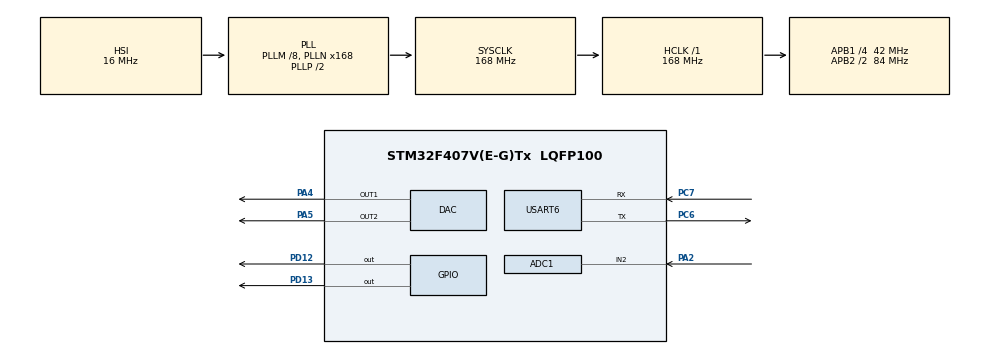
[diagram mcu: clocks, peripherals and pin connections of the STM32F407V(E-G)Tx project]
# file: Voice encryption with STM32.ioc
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ADC1.Channel-0\#ChannelRegularConversion=ADC_CHANNEL_2
ADC1.NbrOfConversion=1
ADC1.NbrOfConversionFlag=1
ADC1.Rank-0\#ChannelRegularConversion=1
ADC1.SamplingTime-0\#ChannelRegularConversion=ADC_SAMPLETIME_3CYCLES
ADC1.master=1
Mcu.Family=STM32F4
Mcu.Name=STM32F407V(E-G)Tx
Mcu.Package=LQFP100
NVIC.PriorityGroup=NVIC_PRIORITYGROUP_4
NVIC.TIM1_BRK_TIM9_IRQn=true\:0\:0\:false\:false\:true\:true\:true\:true
NVIC.TIM1_CC_IRQn=true\:0\:0\:false\:false\:true\:true\:true\:true
NVIC.TIM1_TRG_COM_TIM11_IRQn=true\:0\:0\:false\:false\:true\:true\:true\:true
NVIC.TIM1_UP_TIM10_IRQn=true\:0\:0\:false\:false\:true\:true\:true\:true
NVIC.TIM2_IRQn=true\:0\:0\:false\:false\:true\:true\:true\:true
NVIC.USART6_IRQn=true\:0\:0\:false\:false\:true\:true\:true\:true
PA13.Mode=Serial_Wire
PA13.Signal=SYS_JTMS-SWDIO
PA14.Mode=Serial_Wire
PA14.Signal=SYS_JTCK-SWCLK
PA2.Signal=ADCx_IN2
PA4.Signal=COMP_DAC1_group
PA5.Signal=COMP_DAC2_group
PC6.Mode=Asynchronous
PC6.Signal=USART6_TX
PC7.Mode=Asynchronous
PC7.Signal=USART6_RX
PD12.Signal=GPIO_Output
PD13.Signal=GPIO_Output
PH0-OSC_IN.Mode=HSE-External-Oscillator
PH0-OSC_IN.Signal=RCC_OSC_IN
PH1-OSC_OUT.Mode=HSE-External-Oscillator
PH1-OSC_OUT.Signal=RCC_OSC_OUT
ProjectManager.HeapSize=0x200
ProjectManager.StackSize=0x400
ProjectManager.TargetToolchain=STM32CubeIDE
RCC.48MHZClocksFreq_Value=84000000
RCC.AHBFreq_Value=168000000
RCC.APB1CLKDivider=RCC_HCLK_DIV4
RCC.APB1Freq_Value=42000000
RCC.APB1TimFreq_Value=84000000
RCC.APB2CLKDivider=RCC_HCLK_DIV2
RCC.APB2Freq_Value=84000000
RCC.APB2TimFreq_Value=168000000
RCC.CortexFreq_Value=168000000
RCC.HCLKFreq_Value=168000000
RCC.HSE_VALUE=8000000
RCC.HSI_VALUE=16000000
RCC.LSE_VALUE=32768
RCC.PLLM=8
RCC.PLLN=168
RCC.SYSCLKFreq_VALUE=168000000
RCC.SYSCLKSource=RCC_SYSCLKSOURCE_PLLCLK
RCC.VCOOutputFreq_Value=336000000
SH.ADCx_IN2.0=ADC1_IN2,IN2
SH.COMP_DAC1_group.0=DAC_OUT1,DAC_OUT1
SH.COMP_DAC2_group.0=DAC_OUT2,DAC_OUT2
TIM1.Period=1000
TIM1.Prescaler=48000
TIM2.Period=10
TIM2.Prescaler=100
USART6.VirtualMode=VM_ASYNC
VP_TIM1_VS_ClockSourceINT.Mode=Internal
VP_TIM2_VS_ClockSourceINT.Mode=Internal
board=custom

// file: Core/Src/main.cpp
/* USER CODE BEGIN Header */
/**
  ******************************************************************************
  * @file           : main.c
  * @brief          : Main program body
  ******************************************************************************
  * @attention
  *
  * Copyright (c) 2022 STMicroelectronics.
  * All rights reserved.
  *
  * This software is licensed under terms that can be found in the LICENSE file
  * in the root directory of this software component.
  * If no LICENSE file comes with this software, it is provided AS-IS.
  *
  ******************************************************************************
  */
/* USER CODE END Header */
#include "main.h"

/* USER CODE BEGIN Includes */
#include "string.h"
#include<stdio.h>
#include<stdlib.h>
/* USER CODE END Includes */

/* USER CODE BEGIN PD */
#define d9on HAL_GPIO_WritePin(GPIOD, GPIO_PIN_12, 1);  ;
#define d10on HAL_GPIO_WritePin(GPIOD, GPIO_PIN_13, 1);  ;
#define d9off HAL_GPIO_WritePin(GPIOD, GPIO_PIN_12, 0);  ;
#define d10off HAL_GPIO_WritePin(GPIOD, GPIO_PIN_13, 0);  ;
uint8_t buff1[2],x=0,dataRaedy=0,bufferReady=0,bufferCount=0 ;
char buffer[100],text[100];
uint16_t adcVal1[1024],datacodec[128],datacodec2[128];
/* USER CODE END PD */

ADC_HandleTypeDef hadc1;

DAC_HandleTypeDef hdac;

TIM_HandleTypeDef htim1;
TIM_HandleTypeDef htim2;

UART_HandleTypeDef huart6;

void SystemClock_Config(void);
static void MX_GPIO_Init(void);
static void MX_USART6_UART_Init(void);
static void MX_ADC1_Init(void);
static void MX_DAC_Init(void);
static void MX_TIM1_Init(void);
static void MX_TIM2_Init(void);

/* USER CODE BEGIN 0 */

void HAL_TIM_PWM_PulseFinishedCallback(TIM_HandleTypeDef *htim)
{
	if(htim==&htim1){

		HAL_GPIO_TogglePin(GPIOD, GPIO_PIN_13);

	}
	if(htim==&htim2){

		HAL_ADC_Start(&hadc1);
		HAL_ADC_PollForConversion(&hadc1, 5);
		adcVal1[0]=0xfff-HAL_ADC_GetValue(&hadc1);
		HAL_DAC_SetValue(&hdac, DAC_CHANNEL_1, DAC_ALIGN_12B_R, adcVal1[0]);

//		if(x<128){
//
//		  scanADC();
//
//		}
//
//		  if(bufferReady){
//			  if(bufferCount<128){
//
//				  	  	  	HAL_DAC_SetValue(&hdac, DAC_CHANNEL_1, DAC_ALIGN_12B_R, datacodec2[bufferCount]);
//				  	  	  	bufferCount++;
////				  			sprintf(text, "a= %d\r\n", datacodec2[bufferCount]);
////				  			HAL_UART_Transmit(&huart6,text,strlen(text),2000);
//
//			  }else{
//				  bufferReady=0;
//			  }
//
//		  }

	}

}
void runCodec(uint16_t adcVal[128]){
	if(dataRaedy==0){
		x=0;
	for(uint8_t i;i<128;i++){

		datacodec[i]=adcVal[i];

	}
	dataRaedy=1;
	}

}
void scanADC(){

	  HAL_ADC_Start(&hadc1);
	  HAL_ADC_PollForConversion(&hadc1, 5);
	  adcVal1[x]=0xfff-HAL_ADC_GetValue(&hadc1);
	  x++;

}
void feelBuffer(){
	if(bufferReady==0){
	for(uint8_t i;i<128;i++){

		datacodec2[i]=datacodec[i];

	}
	bufferReady=1;
	bufferCount=0;
	dataRaedy=0;
	}

}

/* USER CODE END 0 */

int main(void)
{

  /* MCU Configuration--------------------------------------------------------*/

  /* Reset of all peripherals, Initializes the Flash interface and the Systick. */
  HAL_Init();

  /* Configure the system clock */
  SystemClock_Config();

  /* Initialize all configured peripherals */
  MX_GPIO_Init();
  MX_USART6_UART_Init();
  MX_ADC1_Init();
  MX_DAC_Init();
  MX_TIM1_Init();
  MX_TIM2_Init();
  /* USER CODE BEGIN 2 */
  HAL_UART_Receive_IT(&huart6,buff1,1);
  HAL_DAC_Start(&hdac, DAC_CHANNEL_1);
//  HAL_DAC_Start(&hdac, DAC_CHANNEL_2);
  strcpy(buffer, "\r\nhttps://maps.google.com/?q=");
  HAL_TIM_PWM_Start_IT(&htim1,TIM_CHANNEL_1);		//start timer 1
  HAL_TIM_PWM_Start_IT(&htim2,TIM_CHANNEL_2);
  /* USER CODE END 2 */

  /* Infinite loop */
  /* USER CODE BEGIN WHILE */
  while (1)
  {

		  if(x>126)runCodec(adcVal1);
		  if(dataRaedy)feelBuffer();
//		  if(adcVal0<170)adcVal0=0;

//		  adcVal0=adcVal0^0x501;
//		  adcVal0=adcVal0^0x55a;

//		  adcVal0=adcVal0^0x55a;
//		  adcVal0=adcVal0^0x501;

//		  itoa(adcVal0, text, 16);
//		  HAL_UART_Transmit(&huart6,text,strlen(text),2000);
//		  HAL_UART_Transmit(&huart6,"\r\n",2,2000);
//		  HAL_Delay(50);
//		  HAL_DAC_SetValue(&hdac, DAC_CHANNEL_1, DAC_ALIGN_12B_R, adcVal0);
//		  HAL_DAC_SetValue(&hdac, DAC_CHANNEL_2, DAC_ALIGN_12B_R, adcVal0);

//	  d9on
//	  d10on
//	  HAL_Delay(500);
//	  HAL_UART_Transmit(&huart6,buffer,strlen(buffer),2000);
//	  HAL_UART_Transmit(&huart6,text,strlen(text),2000);
//	  d9off
//	  d10off
//	  HAL_Delay(500);
    /* USER CODE END WHILE */

  }
}

void SystemClock_Config(void)
{
  RCC_OscInitTypeDef RCC_OscInitStruct = {0};
  RCC_ClkInitTypeDef RCC_ClkInitStruct = {0};

  /** Configure the main internal regulator output voltage
  */
  __HAL_RCC_PWR_CLK_ENABLE();
  __HAL_PWR_VOLTAGESCALING_CONFIG(PWR_REGULATOR_VOLTAGE_SCALE1);

  /** Initializes the RCC Oscillators according to the specified parameters
  * in the RCC_OscInitTypeDef structure.
  */
  RCC_OscInitStruct.OscillatorType = RCC_OSCILLATORTYPE_HSI;
  RCC_OscInitStruct.HSIState = RCC_HSI_ON;
  RCC_OscInitStruct.HSICalibrationValue = RCC_HSICALIBRATION_DEFAULT;
  RCC_OscInitStruct.PLL.PLLState = RCC_PLL_ON;
  RCC_OscInitStruct.PLL.PLLSource = RCC_PLLSOURCE_HSI;
  RCC_OscInitStruct.PLL.PLLM = 8;
  RCC_OscInitStruct.PLL.PLLN = 168;
  RCC_OscInitStruct.PLL.PLLP = RCC_PLLP_DIV2;
  RCC_OscInitStruct.PLL.PLLQ = 4;
  if (HAL_RCC_OscConfig(&RCC_OscInitStruct) != HAL_OK)
  {
    Error_Handler();
  }

  /** Initializes the CPU, AHB and APB buses clocks
  */
  RCC_ClkInitStruct.ClockType = RCC_CLOCKTYPE_HCLK|RCC_CLOCKTYPE_SYSCLK
                              |RCC_CLOCKTYPE_PCLK1|RCC_CLOCKTYPE_PCLK2;
  RCC_ClkInitStruct.SYSCLKSource = RCC_SYSCLKSOURCE_PLLCLK;
  RCC_ClkInitStruct.AHBCLKDivider = RCC_SYSCLK_DIV1;
  RCC_ClkInitStruct.APB1CLKDivider = RCC_HCLK_DIV4;
  RCC_ClkInitStruct.APB2CLKDivider = RCC_HCLK_DIV2;

  if (HAL_RCC_ClockConfig(&RCC_ClkInitStruct, FLASH_LATENCY_5) != HAL_OK)
  {
    Error_Handler();
  }
}

static void MX_ADC1_Init(void)
{

  ADC_ChannelConfTypeDef sConfig = {0};

  /** Configure the global features of the ADC (Clock, Resolution, Data Alignment and number of conversion)
  */
  hadc1.Instance = ADC1;
  hadc1.Init.ClockPrescaler = ADC_CLOCK_SYNC_PCLK_DIV4;
  hadc1.Init.Resolution = ADC_RESOLUTION_12B;
  hadc1.Init.ScanConvMode = DISABLE;
  hadc1.Init.ContinuousConvMode = DISABLE;
  hadc1.Init.DiscontinuousConvMode = DISABLE;
  hadc1.Init.ExternalTrigConvEdge = ADC_EXTERNALTRIGCONVEDGE_NONE;
  hadc1.Init.ExternalTrigConv = ADC_SOFTWARE_START;
  hadc1.Init.DataAlign = ADC_DATAALIGN_RIGHT;
  hadc1.Init.NbrOfConversion = 1;
  hadc1.Init.DMAContinuousRequests = DISABLE;
  hadc1.Init.EOCSelection = ADC_EOC_SINGLE_CONV;
  if (HAL_ADC_Init(&hadc1) != HAL_OK)
  {
    Error_Handler();
  }

  /** Configure for the selected ADC regular channel its corresponding rank in the sequencer and its sample time.
  */
  sConfig.Channel = ADC_CHANNEL_2;
  sConfig.Rank = 1;
  sConfig.SamplingTime = ADC_SAMPLETIME_3CYCLES;
  if (HAL_ADC_ConfigChannel(&hadc1, &sConfig) != HAL_OK)
  {
    Error_Handler();
  }

}

static void MX_DAC_Init(void)
{

  DAC_ChannelConfTypeDef sConfig = {0};

  /** DAC Initialization
  */
  hdac.Instance = DAC;
  if (HAL_DAC_Init(&hdac) != HAL_OK)
  {
    Error_Handler();
  }

  /** DAC channel OUT1 config
  */
  sConfig.DAC_Trigger = DAC_TRIGGER_NONE;
  sConfig.DAC_OutputBuffer = DAC_OUTPUTBUFFER_ENABLE;
  if (HAL_DAC_ConfigChannel(&hdac, &sConfig, DAC_CHANNEL_1) != HAL_OK)
  {
    Error_Handler();
  }

  /** DAC channel OUT2 config
  */
  if (HAL_DAC_ConfigChannel(&hdac, &sConfig, DAC_CHANNEL_2) != HAL_OK)
  {
    Error_Handler();
  }

}

static void MX_TIM1_Init(void)
{

  TIM_ClockConfigTypeDef sClockSourceConfig = {0};
  TIM_MasterConfigTypeDef sMasterConfig = {0};

  htim1.Instance = TIM1;
  htim1.Init.Prescaler = 48000;
  htim1.Init.CounterMode = TIM_COUNTERMODE_UP;
  htim1.Init.Period = 1000;
  htim1.Init.ClockDivision = TIM_CLOCKDIVISION_DIV1;
  htim1.Init.RepetitionCounter = 0;
  htim1.Init.AutoReloadPreload = TIM_AUTORELOAD_PRELOAD_DISABLE;
  if (HAL_TIM_Base_Init(&htim1) != HAL_OK)
  {
    Error_Handler();
  }
  sClockSourceConfig.ClockSource = TIM_CLOCKSOURCE_INTERNAL;
  if (HAL_TIM_ConfigClockSource(&htim1, &sClockSourceConfig) != HAL_OK)
  {
    Error_Handler();
  }
  sMasterConfig.MasterOutputTrigger = TIM_TRGO_RESET;
  sMasterConfig.MasterSlaveMode = TIM_MASTERSLAVEMODE_DISABLE;
  if (HAL_TIMEx_MasterConfigSynchronization(&htim1, &sMasterConfig) != HAL_OK)
  {
    Error_Handler();
  }

}

static void MX_TIM2_Init(void)
{

  TIM_ClockConfigTypeDef sClockSourceConfig = {0};
  TIM_MasterConfigTypeDef sMasterConfig = {0};

  htim2.Instance = TIM2;
  htim2.Init.Prescaler = 100;
  htim2.Init.CounterMode = TIM_COUNTERMODE_UP;
  htim2.Init.Period = 10;
  htim2.Init.ClockDivision = TIM_CLOCKDIVISION_DIV1;
  htim2.Init.AutoReloadPreload = TIM_AUTORELOAD_PRELOAD_DISABLE;
  if (HAL_TIM_Base_Init(&htim2) != HAL_OK)
  {
    Error_Handler();
  }
  sClockSourceConfig.ClockSource = TIM_CLOCKSOURCE_INTERNAL;
  if (HAL_TIM_ConfigClockSource(&htim2, &sClockSourceConfig) != HAL_OK)
  {
    Error_Handler();
  }
  sMasterConfig.MasterOutputTrigger = TIM_TRGO_RESET;
  sMasterConfig.MasterSlaveMode = TIM_MASTERSLAVEMODE_DISABLE;
  if (HAL_TIMEx_MasterConfigSynchronization(&htim2, &sMasterConfig) != HAL_OK)
  {
    Error_Handler();
  }

}

static void MX_USART6_UART_Init(void)
{

  huart6.Instance = USART6;
  huart6.Init.BaudRate = 115200;
  huart6.Init.WordLength = UART_WORDLENGTH_8B;
  huart6.Init.StopBits = UART_STOPBITS_1;
  huart6.Init.Parity = UART_PARITY_NONE;
  huart6.Init.Mode = UART_MODE_TX_RX;
  huart6.Init.HwFlowCtl = UART_HWCONTROL_NONE;
  huart6.Init.OverSampling = UART_OVERSAMPLING_16;
  if (HAL_UART_Init(&huart6) != HAL_OK)
  {
    Error_Handler();
  }

}

static void MX_GPIO_Init(void)
{
  GPIO_InitTypeDef GPIO_InitStruct = {0};

  /* GPIO Ports Clock Enable */
  __HAL_RCC_GPIOH_CLK_ENABLE();
  __HAL_RCC_GPIOA_CLK_ENABLE();
  __HAL_RCC_GPIOD_CLK_ENABLE();
  __HAL_RCC_GPIOC_CLK_ENABLE();

  /*Configure GPIO pin Output Level */
  HAL_GPIO_WritePin(GPIOD, GPIO_PIN_12|GPIO_PIN_13, GPIO_PIN_RESET);

  /*Configure GPIO pins : PD12 PD13 */
  GPIO_InitStruct.Pin = GPIO_PIN_12|GPIO_PIN_13;
  GPIO_InitStruct.Mode = GPIO_MODE_OUTPUT_PP;
  GPIO_InitStruct.Pull = GPIO_NOPULL;
  GPIO_InitStruct.Speed = GPIO_SPEED_FREQ_LOW;
  HAL_GPIO_Init(GPIOD, &GPIO_InitStruct);

}

void Error_Handler(void)
{
  __disable_irq();
  while (1)
  {
  }
}
